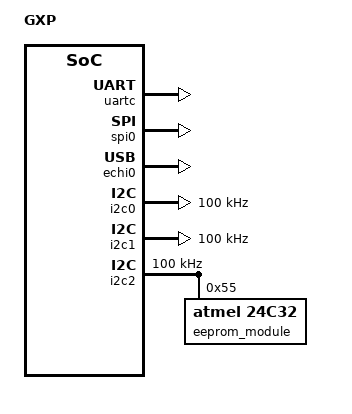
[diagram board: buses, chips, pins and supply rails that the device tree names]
// SPDX-License-Identifier: GPL-2.0
/*
 * GXP Device Tree
 *
 * (C) Copyright 2019 Hewlett Packard Enterprise Development LP.
 * Author: Gilbert Chen <gilbert.chen@hpe.com>
 */

/dts-v1/;
/ {
  #address-cells = <1>;
  #size-cells = <1>;
  compatible = "HPE,GXP";
  model = "GXP";

  chosen {
    u-boot,dm-pre-reloc;
    bootargs = "earlyprintk console=ttyS0,115200 user_debug=31";
    stdout-path = &uartc;
  };

  aliases {
    serial0 = &uartc;
    spi0 = &spi0;
    i2c0 = &i2c0;
    i2c1 = &i2c1;
    i2c2 = &i2c2;
  };

  ahb@80000000 {
    compatible = "simple-bus";
    #address-cells = <1>;
    #size-cells = <1>;
    reg = <0x80000000 0x4f000000>;
    ranges;

    timer: timer@c0000098 {
      compatible = "hpe,gxp-timer";
      reg = <0xc0000098 0x08>;
      clock-frequency = <1000000>;
      u-boot,dm-pre-reloc;
    };

    uartc: serial@c00000f0 {
      compatible = "ns16550a";
      reg = <0xc00000f0 0x8>;
      clock-frequency = <1846153>;
      reg-shift = <0>;
      no-loopback-test;
      status = "okay";
      u-boot,dm-pre-reloc;
    };

    spi0: spi@c0000200 {
      reg = <0xc0000200 0x80>;
      #address-cells = <1>;
      #size-cells = <0>;
      compatible = "hpe,gxp-spi";
      status = "okay";
      u-boot,dm-pre-reloc;
    };

    echi0: ehci@0xcefe0000 {
      compatible = "generic-ehci";
      reg = <0xcefe0000 0x100>;
    };

    i2c0: i2c@c0002000 {
      compatible = "hpe,gxp-i2c";
      reg = <0xc0002000 0x70>;
      clock-frequency = <100000>;
      status = "okay";
      #address-cells = <1>;
      #size-cells = <0>;
    };

    i2c1: i2c@c0002100 {
      compatible = "hpe,gxp-i2c";
      reg = <0xc0002100 0x70>;
      clock-frequency = <100000>;
      status = "okay";
      #address-cells = <1>;
      #size-cells = <0>;
    };

    i2c2: i2c@c0002200 {
      compatible = "hpe,gxp-i2c";
      reg = <0xc0002200 0x70>;
      clock-frequency = <100000>;
      status = "okay";
      #address-cells = <1>;
      #size-cells = <0>;

      eeprom_module: eeprom@55 {
        compatible = "atmel,24c32", "i2c-eeprom";
        pagesize = <8>;
        reg = <0x55>;
      };
    };
  };
};
